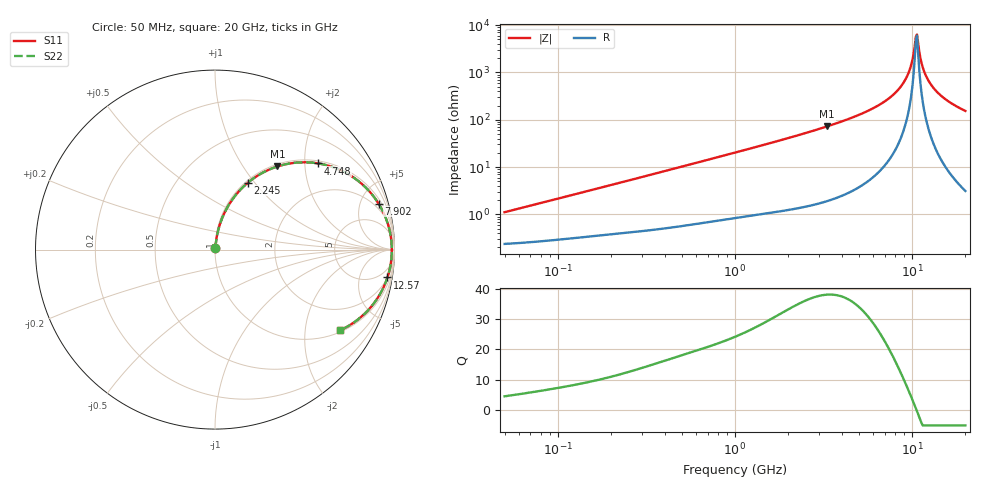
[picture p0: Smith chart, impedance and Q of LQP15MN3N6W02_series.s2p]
!Murata Part Number: LQP15MN3N6W02
!These Parameters are Measured in Series Mode Connection
!  o--[Z]--o
!Port1  Port2
!  o-------o
!Freq. Start=50[MHz] Stop=20[GHz], 401[Steps]
# Hz S RI R 50
!Freq.(Hz) S11(Real) S11(Imag) S21(Real) S21(Imag) S12(Real) S12(Imag) S22(Real) S22(Imag)
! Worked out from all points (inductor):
!   401 points, 50 MHz to 20 GHz, reference 50 ohm
!   read as one part in series: L = 3.43 nH near 51.52 MHz
!   highest Q = 38 at 3.314 GHz (marker M1), where L = 3.47 nH
!   self-resonance near 10.5 GHz
!   S11 on the Smith chart (normalised r, x): 50 MHz: 1.00, +0.02; 2.245 GHz: 1.03, +0.93; 4.748 GHz: 1.07, +2.34; 7.902 GHz: 1.41, +6.96; 12.57 GHz: 2, -12; 20 GHz: 1.06, -3.07
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5e7  0.00248 0.0108  0.9975 -0.0108  0.9975 -0.0108  0.00248 0.0108
1.364002e8  0.00407 0.0285  0.9959 -0.0285  0.9959 -0.0285  0.00407 0.0285
3.721004e8  0.0105 0.075  0.9895 -0.075  0.9895 -0.075  0.0105 0.075
1e9  0.0465 0.1908  0.9535 -0.1908  0.9535 -0.1908  0.0465 0.1908
2.245319e9  0.1844 0.3737  0.8156 -0.3737  0.8156 -0.3737  0.1844 0.3737
2.728004e9  0.255 0.4225  0.745 -0.4225  0.745 -0.4225  0.255 0.4225
3.314454e9  0.3475 0.4632  0.6525 -0.4632  0.6525 -0.4632  0.3475 0.4632
4.748272e9  0.5751 0.4803  0.4249 -0.4803  0.4249 -0.4803  0.5751 0.4803
6.125241e9  0.7577 0.411  0.2423 -0.411  0.2423 -0.411  0.7577 0.411
7.442007e9  0.8806 0.3002  0.1194 -0.3002  0.1194 -0.3002  0.8806 0.3002
7.901521e9  0.9112 0.2566  0.0888 -0.2566  0.0888 -0.2566  0.9112 0.2566
8.644534e9  0.9483 0.1843  0.0517 -0.1843  0.0517 -0.1843  0.9483 0.1843
9.316812e9  0.97 0.119  0.03 -0.119  0.03 -0.119  0.97 0.119
9.892087e9  0.9807 0.0646  0.0193 -0.0646  0.0193 -0.0646  0.9807 0.0646
1.034674e10  0.9846 0.023  0.0154 -0.023  0.0154 -0.023  0.9846 0.023
1.066139e10  0.9853 -0.00491  0.0147 0.00491  0.0147 0.00491  0.9853 -0.00491
1.082228e10  0.985 -0.0189  0.015 0.0189  0.015 0.0189  0.985 -0.0189
1.149051e10  0.98 -0.0744  0.02 0.0744  0.02 0.0744  0.98 -0.0744
1.257102e10  0.9609 -0.1553  0.0391 0.1553  0.0391 0.1553  0.9609 -0.1553
1.375312e10  0.9288 -0.231  0.0712 0.231  0.0712 0.231  0.9288 -0.231
1.527346e10  0.8772 -0.3096  0.1228 0.3096  0.1228 0.3096  0.8772 -0.3096
2e10  0.699 -0.4487  0.301 0.4487  0.301 0.4487  0.699 -0.4487
